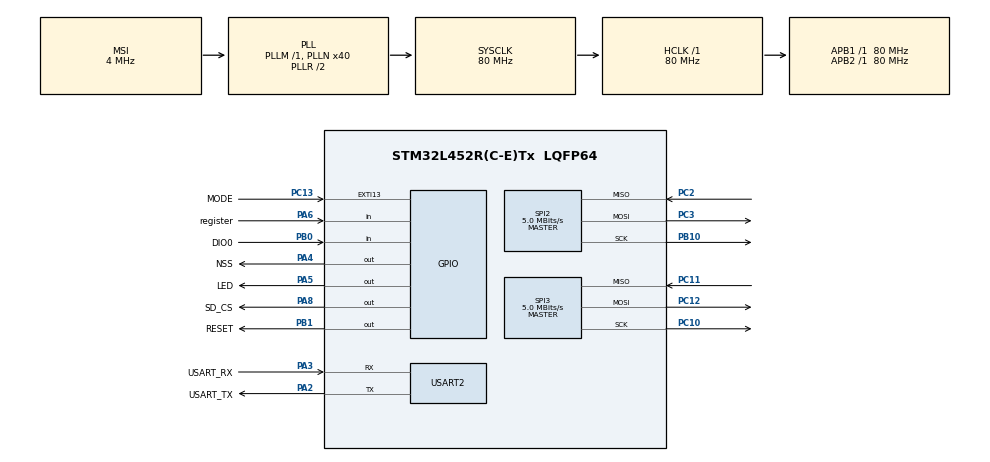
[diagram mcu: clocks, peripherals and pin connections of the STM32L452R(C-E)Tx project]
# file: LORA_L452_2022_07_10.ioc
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FATFS._MAX_SS=4096
FATFS._USE_LFN=1
Mcu.Family=STM32L4
Mcu.Name=STM32L452R(C-E)Tx
Mcu.Package=LQFP64
NVIC.EXTI15_10_IRQn=true\:0\:0\:false\:false\:true\:true\:true
NVIC.PriorityGroup=NVIC_PRIORITYGROUP_4
PA13\ (JTMS/SWDIO).GPIO_Label=TMS
PA13\ (JTMS/SWDIO).Mode=Serial_Wire
PA13\ (JTMS/SWDIO).Signal=SYS_JTMS-SWDIO
PA14\ (JTCK/SWCLK).GPIO_Label=TCK
PA14\ (JTCK/SWCLK).Mode=Serial_Wire
PA14\ (JTCK/SWCLK).Signal=SYS_JTCK-SWCLK
PA2.GPIO_Label=USART_TX
PA2.GPIO_Mode=GPIO_MODE_AF_PP
PA2.GPIO_PuPd=GPIO_NOPULL
PA2.GPIO_Speed=GPIO_SPEED_FREQ_VERY_HIGH
PA2.Mode=Asynchronous
PA2.Signal=USART2_TX
PA3.GPIO_Label=USART_RX
PA3.GPIO_Mode=GPIO_MODE_AF_PP
PA3.GPIO_PuPd=GPIO_NOPULL
PA3.GPIO_Speed=GPIO_SPEED_FREQ_VERY_HIGH
PA3.Mode=Asynchronous
PA3.Signal=USART2_RX
PA4.GPIO_Label=NSS
PA4.PinState=GPIO_PIN_SET
PA4.Signal=GPIO_Output
PA5.GPIO_Label=LED
PA5.GPIO_ModeDefaultOutputPP=GPIO_MODE_OUTPUT_PP
PA5.GPIO_PuPd=GPIO_NOPULL
PA5.GPIO_Speed=GPIO_SPEED_FREQ_LOW
PA5.Signal=GPIO_Output
PA6.GPIO_Label=register
PA6.Signal=GPIO_Input
PA8.GPIO_Label=SD_CS
PA8.GPIO_Speed=GPIO_SPEED_FREQ_MEDIUM
PA8.PinState=GPIO_PIN_SET
PA8.Signal=GPIO_Output
PB0.GPIO_Label=DIO0
PB0.Signal=GPIO_Input
PB1.GPIO_Label=RESET
PB1.PinState=GPIO_PIN_SET
PB1.Signal=GPIO_Output
PB10.Mode=Full_Duplex_Master
PB10.Signal=SPI2_SCK
PB3\ (JTDO/TRACESWO).GPIO_Label=SWO
PB3\ (JTDO/TRACESWO).Signal=SYS_JTDO-SWO
PC10.Mode=Full_Duplex_Master
PC10.Signal=SPI3_SCK
PC11.Mode=Full_Duplex_Master
PC11.Signal=SPI3_MISO
PC12.Mode=Full_Duplex_Master
PC12.Signal=SPI3_MOSI
PC13.GPIO_Label=MODE
PC13.GPIO_ModeDefaultEXTI=GPIO_MODE_IT_FALLING
PC13.GPIO_PuPd=GPIO_NOPULL
PC13.Signal=GPXTI13
PC14-OSC32_IN\ (PC14).Mode=LSE-External-Oscillator
PC14-OSC32_IN\ (PC14).Signal=RCC_OSC32_IN
PC15-OSC32_OUT\ (PC15).Mode=LSE-External-Oscillator
PC15-OSC32_OUT\ (PC15).Signal=RCC_OSC32_OUT
PC2.Mode=Full_Duplex_Master
PC2.Signal=SPI2_MISO
PC3.Mode=Full_Duplex_Master
PC3.Signal=SPI2_MOSI
PH0-OSC_IN\ (PH0).Mode=HSE-External-Oscillator
PH0-OSC_IN\ (PH0).Signal=RCC_OSC_IN
PH1-OSC_OUT\ (PH1).Mode=HSE-External-Oscillator
PH1-OSC_OUT\ (PH1).Signal=RCC_OSC_OUT
ProjectManager.HeapSize=0x200
ProjectManager.StackSize=0x400
ProjectManager.TargetToolchain=STM32CubeIDE
RCC.ADCFreq_Value=16000000
RCC.AHBFreq_Value=80000000
RCC.APB1Freq_Value=80000000
RCC.APB1TimFreq_Value=80000000
RCC.APB2Freq_Value=80000000
RCC.APB2TimFreq_Value=80000000
RCC.CortexFreq_Value=80000000
RCC.HCLKFreq_Value=80000000
RCC.HSE_VALUE=8000000
RCC.HSI48_VALUE=48000000
RCC.HSI_VALUE=16000000
RCC.MSI_VALUE=4000000
RCC.PLLN=40
RCC.PREFETCH_ENABLE=1
RCC.SYSCLKFreq_VALUE=80000000
RCC.SYSCLKSource=RCC_SYSCLKSOURCE_PLLCLK
RCC.USBFreq_Value=16000000
RCC.VCOOutputFreq_Value=160000000
SPI2.BaudRatePrescaler=SPI_BAUDRATEPRESCALER_16
SPI2.CalculateBaudRate=5.0 MBits/s
SPI2.DataSize=SPI_DATASIZE_8BIT
SPI2.Direction=SPI_DIRECTION_2LINES
SPI2.Mode=SPI_MODE_MASTER
SPI2.VirtualType=VM_MASTER
SPI3.BaudRatePrescaler=SPI_BAUDRATEPRESCALER_16
SPI3.CalculateBaudRate=5.0 MBits/s
SPI3.DataSize=SPI_DATASIZE_8BIT
SPI3.Direction=SPI_DIRECTION_2LINES
SPI3.Mode=SPI_MODE_MASTER
SPI3.VirtualType=VM_MASTER
USART2.VirtualMode-Asynchronous=VM_ASYNC
VP_FATFS_VS_Generic.Mode=User_defined
board=NUCLEO-L452RE

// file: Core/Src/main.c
/* USER CODE BEGIN Header */
/**
  ******************************************************************************
  * @file           : main.c
  * @brief          : Main program body
  ******************************************************************************
  * @attention
  *
  * <h2><center>&copy; Copyright (c) 2021 STMicroelectronics.
  * All rights reserved.</center></h2>
  *
  * This software component is licensed by ST under BSD 3-Clause license,
  * the "License"; You may not use this file except in compliance with the
  * License. You may obtain a copy of the License at:
  *                        opensource.org/licenses/BSD-3-Clause
  *
  ******************************************************************************
  */
/* USER CODE END Header */
#include "main.h"
#include "fatfs.h"
#include "spi.h"
#include "usart.h"
#include "gpio.h"

/* USER CODE BEGIN Includes */

#include <string.h>
#include <stdarg.h>
#include <stdio.h>
#include "SX1278.h"

/* USER CODE END Includes */

/* USER CODE BEGIN PV */

/*SD logging parameter*/
UINT bw;
FATFS fs;
FATFS *pfs;
FIL fil;
FRESULT fres;
DWORD fre_clust;
uint32_t total;
uint32_t freespace;
uint32_t SDstate=0;

/* USER CODE END PV */

void SystemClock_Config(void);
void LORA(void);
void SDcard(void);
/* USER CODE BEGIN PFP */

/* Private function prototypes -----------------------------------------------*/

int _write(int file, char *ptr, int len) {
	int i;
	HAL_UART_Transmit(&huart2, (uint8_t*) ptr, len, 50);
	for (i = 0; i < len; i++) {
		ITM_SendChar(*ptr++);
	}
	return len;
}
/* USER CODE END PFP */

/* USER CODE BEGIN 0 */

SX1278_hw_t SX1278_hw;
SX1278_t SX1278;

int master;
int ret;
int i;
int t;
char buffer[512];
int message;
int message_length;
int Current=88;
int sum_Voltage=11;
int Linear_Left=22;
int Linear_Right=33;
int Max_Temperature=44;
int Min_Temperature=55;

/*SD data*/
char SDbuffer[512];
int time=0;
int linear=0;

uint16_t  Time, Battery_Sum_voltage, Frontright_motor_rpm, Frontleft_motor_rpm;

/*LORA data*/
uint16_t  Baterry_voltage[70];
uint16_t  Battery_temp, Motorcontroller_temp, Motor_temp, Motorcontroller_current, Motorcontroller_voltage, Motor_rpm, Motor_Torque;

/* USER CODE END 0 */

int main(void)
{

  /* MCU Configuration--------------------------------------------------------*/

  /* Reset of all peripherals, Initializes the Flash interface and the Systick. */
  HAL_Init();

  /* Configure the system clock */
  SystemClock_Config();

  /* Initialize all configured peripherals */
  MX_GPIO_Init();
  MX_SPI2_Init();
  MX_USART2_UART_Init();
  MX_SPI3_Init();
  MX_FATFS_Init();
  /* USER CODE BEGIN 2 */
//Current=HAL_GPIO_ReadPin(GPIOA, GPIO_PIN_6);
//	master = HAL_GPIO_ReadPin(MODE_GPIO_Port, MODE_Pin);
	/*	if (master == 1) {
			ret = SX1278_LoRaEntryTx(&SX1278, 16, 2000);
			HAL_GPIO_WritePin(LED_GPIO_Port, LED_Pin, GPIO_PIN_SET);
		} else {
			ret = SX1278_LoRaEntryRx(&SX1278, 16, 2000);
			HAL_GPIO_WritePin(LED_GPIO_Port, LED_Pin, GPIO_PIN_RESET);
		}
		*/

	//initialize LoRa module
	SX1278_hw.dio0.port = DIO0_GPIO_Port;
	SX1278_hw.dio0.pin = DIO0_Pin;
	SX1278_hw.nss.port = NSS_GPIO_Port;
	SX1278_hw.nss.pin = NSS_Pin;
	SX1278_hw.reset.port = RESET_GPIO_Port;
	SX1278_hw.reset.pin = RESET_Pin;
	SX1278_hw.spi = &hspi2;

	SX1278.hw = &SX1278_hw;

	printf("Configuring LoRa module\r\n");
	SX1278_init(&SX1278, 434000000, SX1278_POWER_17DBM, SX1278_LORA_SF_7,SX1278_LORA_BW_125KHZ, SX1278_LORA_CR_4_5, SX1278_LORA_CRC_EN, 10);

	//	SX1278_init(&SX1278, 434000000, SX1278_POWER_17DBM, SX1278_LORA_SF_7,SX1278_LORA_BW_125KHZ, SX1278_LORA_CR_4_5, SX1278_LORA_CRC_EN, 10);
	printf("Done configuring LoRaModule\r\n");
//	ret = SX1278_LoRaEntryTx(&SX1278, 16, 2000);//16,2000
	ret = SX1278_LoRaEntryRx(&SX1278, 16, 200);
  /* USER CODE END 2 */

  /* Infinite loop */
  /* USER CODE BEGIN WHILE */
  while (1)
  {

    LORA();

    /* USER CODE END WHILE */

  }
}

void SystemClock_Config(void)
{
  RCC_OscInitTypeDef RCC_OscInitStruct = {0};
  RCC_ClkInitTypeDef RCC_ClkInitStruct = {0};

  /** Configure the main internal regulator output voltage
  */
  if (HAL_PWREx_ControlVoltageScaling(PWR_REGULATOR_VOLTAGE_SCALE1) != HAL_OK)
  {
    Error_Handler();
  }
  /** Configure LSE Drive Capability
  */
  HAL_PWR_EnableBkUpAccess();
  __HAL_RCC_LSEDRIVE_CONFIG(RCC_LSEDRIVE_LOW);
  /** Initializes the RCC Oscillators according to the specified parameters
  * in the RCC_OscInitTypeDef structure.
  */
  RCC_OscInitStruct.OscillatorType = RCC_OSCILLATORTYPE_LSE|RCC_OSCILLATORTYPE_MSI;
  RCC_OscInitStruct.LSEState = RCC_LSE_ON;
  RCC_OscInitStruct.MSIState = RCC_MSI_ON;
  RCC_OscInitStruct.MSICalibrationValue = 0;
  RCC_OscInitStruct.MSIClockRange = RCC_MSIRANGE_6;
  RCC_OscInitStruct.PLL.PLLState = RCC_PLL_ON;
  RCC_OscInitStruct.PLL.PLLSource = RCC_PLLSOURCE_MSI;
  RCC_OscInitStruct.PLL.PLLM = 1;
  RCC_OscInitStruct.PLL.PLLN = 40;
  RCC_OscInitStruct.PLL.PLLP = RCC_PLLP_DIV7;
  RCC_OscInitStruct.PLL.PLLQ = RCC_PLLQ_DIV2;
  RCC_OscInitStruct.PLL.PLLR = RCC_PLLR_DIV2;
  if (HAL_RCC_OscConfig(&RCC_OscInitStruct) != HAL_OK)
  {
    Error_Handler();
  }
  /** Initializes the CPU, AHB and APB buses clocks
  */
  RCC_ClkInitStruct.ClockType = RCC_CLOCKTYPE_HCLK|RCC_CLOCKTYPE_SYSCLK
                              |RCC_CLOCKTYPE_PCLK1|RCC_CLOCKTYPE_PCLK2;
  RCC_ClkInitStruct.SYSCLKSource = RCC_SYSCLKSOURCE_PLLCLK;
  RCC_ClkInitStruct.AHBCLKDivider = RCC_SYSCLK_DIV1;
  RCC_ClkInitStruct.APB1CLKDivider = RCC_HCLK_DIV1;
  RCC_ClkInitStruct.APB2CLKDivider = RCC_HCLK_DIV1;

  if (HAL_RCC_ClockConfig(&RCC_ClkInitStruct, FLASH_LATENCY_4) != HAL_OK)
  {
    Error_Handler();
  }
  /** Enable MSI Auto calibration
  */
  HAL_RCCEx_EnableMSIPLLMode();
}

/* USER CODE BEGIN 4 */
void LORA(void)
{
		//ret = SX1278_LoRaEntryRx(&SX1278, 16, 200);
		//printf("Slave ...\r\n");

		printf("Receiving package...\r\n");
		HAL_Delay(1000);
		ret = SX1278_LoRaRxPacket(&SX1278);
        printf("Received: %d\r\n", ret);
        if (ret > 0) {
        //	printf("Time Battery_Sum_voltage Battery_voltage_min Battery_voltage_max Battery_temp Motorcontroller_temp Motor_temp Motorcontroller_current Motorcontroller_voltage Motor_rpm Motor_Torque\r\n");
        //	printf("TIME Sum_of_Voltage Max_Voltage Min_Voltage Max_temp CAN_L_motor_temp, CAN_L_invertertemp, Motor_L_CommandedTorque, Motor_L_TorqueFeedback, CAN_L_current, CAN_L_voltage, CAN_L_VSM_State, CAN_L_Inverter_State, CAN_L_RPM, CAN_R_motor_temp, CAN_R_invertertemp, Motor_R_CommandedTorque, Motor_R_TorqueFeedback, CAN_R_current, CAN_R_voltage, CAN_R_VSM_State, CAN_R_Inverter_State, CAN_R_RPM\r\n");

            SX1278_read(&SX1278, (uint8_t*) buffer, ret);

       //     SX1278_read(&SX1278, (uint8_t*) buffer, ret);
           	printf("%s\r\n", buffer);
                  		  								  t=1;
                  		  								 printf("\r\nTIME: ");
                  		  								  for(i=0;i<246;i++){
                  		  								  if(buffer[i]==0) break;

                  		  								  if(buffer[i]!=32){
                  		  									 printf("%c",buffer[i]);
                  		  									 }

                  		  								  else if(buffer[i]==32&&t==1){
                  		  									 printf("\r\nSum_of_Voltage: ");
                  		  									 t++;
                  		  								  }
                  		  								  else if(buffer[i]==32&&t==2){
                  		  									 printf("\r\nMax_Voltage: ");
                  		  									 t++;
                  		  								  }
                  		  								  else if(buffer[i]==32&&t==3){
                  		  									 printf("\r\nMin_Voltage: ");
                  		  									 t++;
                  		  								  }
                  		  								  else if(buffer[i]==32&&t==4){
                  		  									 printf("\r\nMax_temp: ");
                  		  									 t++;
                  		  								  }

                  		  								  else if(buffer[i]==32&&t==5){
                  		  								 	 printf("\r\n\r\nCAN_L_motor_temp: ");
                  		  								 	 t++;
                  		  								}
                  		  								  else if(buffer[i]==32&&t==6){
                  		  								 	 printf("\r\nCAN_L_invertertemp: ");
                  		  								 	 t++;
                  		  								}
                  		  								  else if(buffer[i]==32&&t==7){
                   		  								 	 printf("\r\nMotor_L_CommandedTorque:  ");
                   		  								 	 t++;
                  		  								}
                  		  								  else if(buffer[i]==32&&t==8){
                   		  								 	 printf("\r\nMotor_L_TorqueFeedback: ");
                   		  								 	 t++;
                  		  								}
                  		  								  else if(buffer[i]==32&&t==9){
                   		  								 	 printf("\r\nCAN_L_current: ");
                   		  								 	 t++;
                  		  								}
                  		  								  else if(buffer[i]==32&&t==10){
                   		  								 	 printf("\r\nCAN_L_voltage: ");
                   		  								 	 t++;
                  		  								}
                  		  								  else if(buffer[i]==32&&t==11){
                   		  								 	 printf("\r\nCAN_L_VSM_State : ");
                   		  								 	 t++;
                  		  								}
                  		  								  else if(buffer[i]==32&&t==12){
                   		  								 	 printf("\r\nCAN_L_Inverter_State: ");
                   		  								 	 t++;
                  		  								}
                  		  								  else if(buffer[i]==32&&t==13){
                  		  								 	 printf("\r\nCAN_L_RPM: ");
                  		  								 	 t++;
                  		  								}
                  		  								  else if(buffer[i]==32&&t==14){
                  		  								 	 printf("\r\n\r\nCAN_R_motor_temp: ");
                  		  								 	 t++;
                  		  								}
                  		  								  else if(buffer[i]==32&&t==15){
                  		  								 	 printf("\r\nCAN_R_invertertemp: ");
                  		  								 	 t++;
                  		  								}
                  		  								  else if(buffer[i]==32&&t==16){
                  		  								 	 printf("\r\nMotor_R_CommandedTorque: ");
                  		  								 	 t++;
                  		  								}
                  		  								  else if(buffer[i]==32&&t==17){
                  		  								 	 printf("\r\nMotor_R_TorqueFeedback ");
                  		  								 	 t++;
                  		  								}
                  		  								  else if(buffer[i]==32&&t==18){
                  		  								 	 printf("\r\nCAN_R_current: ");
                  		  								 	 t++;
                  		  								}
                  		  								  else if(buffer[i]==32&&t==19){
                  		  								 	 printf("\r\nCAN_R_voltage: ");
                  		  								 	 t++;
                  		  								}
                  		  								  else if(buffer[i]==32&&t==20){
                  		  								 	 printf("\r\nCAN_R_VSM_State: ");
                  		  								 	 t++;
                  		  								}
                  		  								  else if(buffer[i]==32&&t==21){
                  		  								 	 printf("\r\nCAN_R_Inverter_State: ");
                  		  								 	 t++;
                  		  								}
                  		  								  else if(buffer[i]==32&&t==22){
                  		  								 	 printf("\r\nCAN_R_RPM ");
                  		  								 	 t++;
                  		  								}

                  		  						}

           // SDcard();
        }
        SDcard();
     /*   if (ret > 0) {
        		  								  SX1278_read(&SX1278, (uint8_t*) buffer, ret);
        		  								  t=0;
        		  								  for(i=0;i<246;i++){
        		  								  if(buffer[i]==0) break;

        		  								  if(buffer[i]!=32){
        		  									 printf("%c",buffer[i]);
        		  									 }
        		  								  else if(buffer[i]==32&&t==0){
        		  									 printf("\r\nTIME: ");
        		  									 t++;
        		  								  }
        		  								  else if(buffer[i]==32&&t==1){
        		  									 printf("\r\nSum_of_Voltage:");
        		  									 t++;
        		  								  }
        		  								  else if(buffer[i]==32&&t==2){
        		  									 printf("\r\nMax_Voltage: ");
        		  									 t++;
        		  								  }
        		  								  else if(buffer[i]==32&&t==3){
        		  									 printf("\r\nMin_Voltage: ");
        		  									 t++;
        		  								  }
        		  								  else if(buffer[i]==32&&t==4){
        		  									 printf("\r\nMax_temp: ");
        		  									 t++;
        		  								  }

        		  								  else if(buffer[i]==32&&t==5){
        		  								 	 printf("\r\n CAN_L_motor_temp CAN_L_invertertemp Motor_L_CommandedTorque Motor_L_TorqueFeedback CAN_L_current CAN_L_voltage CAN_L_VSM_State CAN_L_Inverter_State CAN_L_RPM \r\n");
        		  								 	 t++;
        		  								}
        		  								  else if(buffer[i]==32&&t==6){
        		  								 	 printf(" ");
        		  								 	 t++;
        		  								}
        		  								  else if(buffer[i]==32&&t==7){
         		  								 	 printf(" ");
         		  								 	 t++;
        		  								}
        		  								  else if(buffer[i]==32&&t==8){
         		  								 	 printf(" ");
         		  								 	 t++;
        		  								}
        		  								  else if(buffer[i]==32&&t==9){
         		  								 	 printf(" ");
         		  								 	 t++;
        		  								}
        		  								  else if(buffer[i]==32&&t==10){
         		  								 	 printf(" ");
         		  								 	 t++;
        		  								}
        		  								  else if(buffer[i]==32&&t==11){
         		  								 	 printf(" ");
         		  								 	 t++;
        		  								}
        		  								  else if(buffer[i]==32&&t==12){
         		  								 	 printf(" ");
         		  								 	 t++;
        		  								}
        		  								  else if(buffer[i]==32&&t==13){
        		  								 	 printf(" ");
        		  								 	 t++;
        		  								}
        		  								  else if(buffer[i]==32&&t==14){
        		  								 	 printf("\r\n  CAN_R_motor_temp CAN_R_invertertem Motor_R_CommandedTorque Motor_R_TorqueFeedback CAN_R_current CAN_R_voltage CAN_R_VSM_State CAN_R_Inverter_State CAN_R_RPM \r\n");
        		  								 	 t++;
        		  								}
        		  								  else if(buffer[i]==32&&t==15){
        		  								 	 printf(" ");
        		  								 	 t++;
        		  								}
        		  								  else if(buffer[i]==32&&t==16){
        		  								 	 printf(" ");
        		  								 	 t++;
        		  								}
        		  								  else if(buffer[i]==32&&t==17){
        		  								 	 printf(" ");
        		  								 	 t++;
        		  								}
        		  								  else if(buffer[i]==32&&t==18){
        		  								 	 printf(" ");
        		  								 	 t++;
        		  								}
        		  								  else if(buffer[i]==32&&t==19){
        		  								 	 printf(" ");
        		  								 	 t++;
        		  								}
        		  								  else if(buffer[i]==32&&t==20){
        		  								 	 printf(" ");
        		  								 	 t++;
        		  								}
        		  								  else if(buffer[i]==32&&t==21){
        		  								 	 printf(" ");
        		  								 	 t++;
        		  								}
        		  								  else if(buffer[i]==32&&t==22){
        		  								 	 printf(" ");
        		  								 	 t++;
        		  								}

        		  						}

        		  }

*/

        printf("\r\n------------------------------------------------------------------------------------------------------------------------------------\r\n");

}
void SDcard(void)
{
	 /* SD card -------------------------------------------------------------------------------------------------------------------*/
	 /* SDcard logging -------------------------------------------------------------------------------------------------------------------*/
	 /* Mount SD Card */

	/* start */
	if(SDstate==1){
		f_mount(&fs, "", 0);
		/* Open file to write */
		f_open(&fil, "DATA.txt", FA_OPEN_ALWAYS | FA_READ | FA_WRITE);

	   /* Check free space */
	   f_getfree("", &fre_clust, &pfs);
	   total = (uint32_t)((pfs->n_fatent - 2) * pfs->csize * 0.5);
	   freespace = (uint32_t)(fre_clust * pfs->csize * 0.5);
	   // Free space is less than 1kb

	   /* show start logging */
	   SDstate=2;
	   HAL_GPIO_WritePin(GPIOA, GPIO_PIN_5, GPIO_PIN_SET);
	   f_puts("TIME Sum_of_Voltage Max_Voltage Min_Voltage Max_temp CAN_L_motor_temp CAN_L_invertertemp Motor_L_CommandedTorque Motor_L_TorqueFeedback CAN_L_current CAN_L_voltage CAN_L_VSM_State CAN_L_Inverter_State CAN_L_RPM CAN_R_motor_temp CAN_R_invertertemp Motor_R_CommandedTorque Motor_R_TorqueFeedback CAN_R_current CAN_R_voltage CAN_R_VSM_State CAN_R_Inverter_State CAN_R_RPM", &fil);
	   f_puts("\n", &fil);
			}

	/* running */
	else if(SDstate==2){
	  /* Writing text */
	  /*
	  //example how to write
	  sprintf(SDbuffer,"%d",Shock_linear);
	  f_puts("Shock_linear:", &fil);
	  f_write(&fil, SDbuffer , strlen(SDbuffer), &bw);
	  f_puts("\n", &fil);
	  Shock_linear++;
	  */

		//  f_write(&fil, SDbuffer , strlen(buffer), &bw);//roka rx sd Logging
			for(i=0;i<512;i++){
			SDbuffer[i]=buffer[i];
							}
			//  sprintf(SDbuffer,"%d:%d:%d, %d, %d, %d, %d, %d\n",time_data_min,time_data_sec, time_data, (int)Shock_linear[0], (int)Shock_linear[1], (int)Shock_linear[2], (int)Shock_linear[3],(int)Temperature);
			f_write(&fil, SDbuffer , strlen(SDbuffer), &bw);
			f_puts("\n", &fil);
	 }

	  /* Close file */
	else if(SDstate==3){
	     f_close(&fil);
	     HAL_GPIO_WritePin(GPIOA, GPIO_PIN_5, GPIO_PIN_RESET);
	  }

}
void HAL_GPIO_EXTI_Callback(uint16_t GPIO_Pin)
{
	if(GPIO_Pin == GPIO_PIN_13)
	{

		/*start*/
		if(SDstate==0){
			SDstate=1;
		}

		/*running*/
		else if(SDstate==2){
			SDstate=3;
		}

    	/* closed */
		else if(SDstate==3){
			SDstate=0;
		}

	}
}

/* USER CODE END 4 */

void Error_Handler(void)
{
  __disable_irq();
  while (1)
  {
  }
}

/************************ (C) COPYRIGHT STMicroelectronics *****END OF FILE****/
